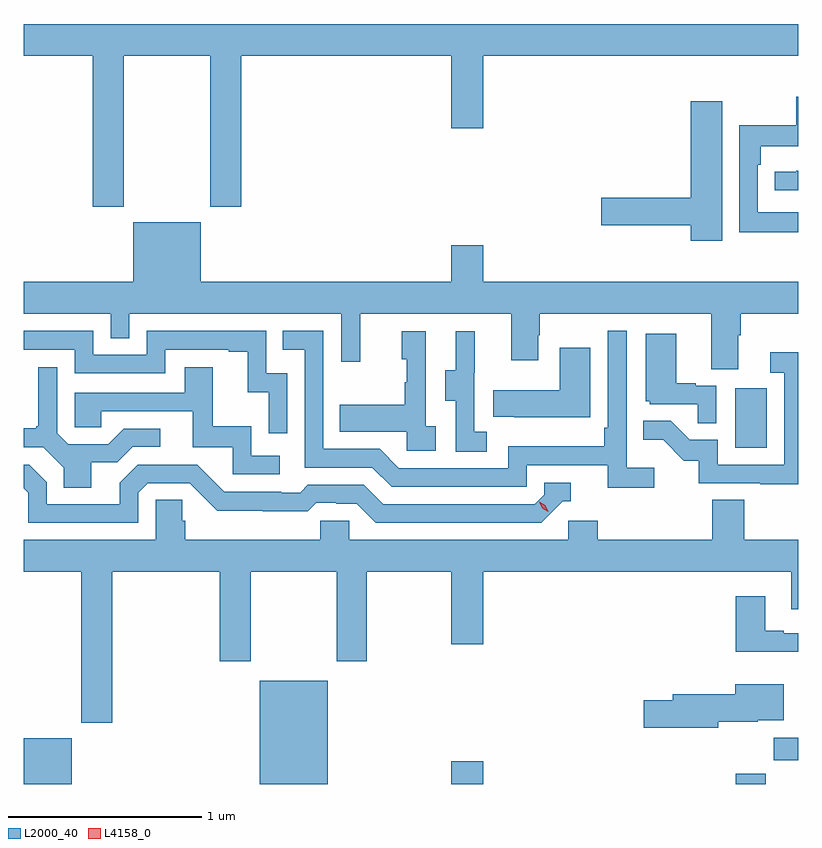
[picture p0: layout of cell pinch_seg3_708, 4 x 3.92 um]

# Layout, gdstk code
import gdstk
lib = gdstk.Library(unit=1e-6, precision=1e-09)
def R(c, l, rs):  # rectangles x0, y0, x1, y1
    for r in rs: c.add(gdstk.rectangle(r[:2], r[2:], *l))
def P(c, l, *ps):  # polygons
    for p in ps: c.add(gdstk.Polygon(p, *l))
L2000_40 = (2000, 40)
L4158_0 = (4158, 0)

pinch_seg3_708 = lib.new_cell('pinch_seg3_708')
R(pinch_seg3_708, L2000_40, [(1109.851,667.852,1110.1,668.089), (1111.07,667.852,1111.42,668.386), (1112.06,667.852,1112.224,667.969), (1113.527,667.852,1113.683,667.904), (1113.724,667.974,1113.851,668.092), (1113.524,669.588,1113.688,669.895)])
P(pinch_seg3_708, L2000_40, [(1110.369,671.612),(1110.814,671.612),(1110.814,670.833),(1110.974,670.833),(1110.974,671.612),(1112.06,671.612),(1112.06,671.238),(1112.224,671.238),(1112.224,671.612),(1113.851,671.612),(1113.851,671.776),(1109.851,671.776),(1109.851,671.612),(1110.209,671.612),(1110.209,670.833),(1110.369,670.833)],
  [(1113.851,670.803),(1113.642,670.803),(1113.642,671.048),(1113.656,671.048),(1113.656,671.144),(1113.851,671.144),(1113.851,671.4),(1113.84,671.4),(1113.84,671.254),(1113.546,671.254),(1113.546,670.702),(1113.851,670.702)],
  [(1113.457,671.377),(1113.296,671.377),(1113.296,670.88),(1112.832,670.88),(1112.832,670.738),(1113.296,670.738),(1113.296,670.656),(1113.457,670.656)],
  [(1113.851,671.018),(1113.841,671.018),(1113.841,671.013),(1113.729,671.013),(1113.729,670.917),(1113.851,670.917)],
  [(1113.541,670.168),(1113.554,670.168),(1113.554,670.28),(1113.851,670.28),(1113.851,670.444),(1112.224,670.444),(1112.224,670.633),(1112.06,670.633),(1112.06,670.444),(1110.766,670.444),(1110.766,670.753),(1110.416,670.753),(1110.416,670.444),(1109.851,670.444),(1109.851,670.28),(1110.3,670.28),(1110.3,670.153),(1110.396,670.153),(1110.396,670.28),(1111.491,670.28),(1111.491,670.032),(1111.589,670.032),(1111.589,670.28),(1112.369,670.28),(1112.369,670.041),(1112.509,670.041),(1112.509,670.169),(1112.517,670.169),(1112.517,670.28),(1113.401,670.28),(1113.401,669.994),(1113.541,669.994)],
  [(1113.106,669.484),(1112.964,669.484),(1112.964,670.192),(1112.868,670.192),(1112.868,669.691),(1112.848,669.691),(1112.848,669.595),(1112.352,669.595),(1112.352,669.483),(1111.788,669.483),(1111.689,669.582),(1111.398,669.582),(1111.398,670.191),(1111.189,670.191),(1111.189,670.095),(1111.302,670.095),(1111.302,669.486),(1111.652,669.486),(1111.751,669.387),(1112.448,669.387),(1112.448,669.498),(1112.867,669.498),(1112.867,669.382),(1113.106,669.382)],
  [(1111.212,669.972),(1111.104,669.972),(1111.104,670.191),(1110.486,670.191),(1110.486,670.068),(1110.21,670.068),(1110.21,670.191),(1109.851,670.191),(1109.851,670.095),(1110.114,670.095),(1110.114,669.972),(1110.582,669.972),(1110.582,670.095),(1110.911,670.095),(1110.911,670.083),(1111.007,670.083),(1111.007,669.875),(1111.116,669.875),(1111.116,669.663),(1111.212,669.663)],
  [(1111.978,669.698),(1111.926,669.698),(1111.926,670.189),(1111.802,670.189),(1111.802,670.044),(1111.828,670.044),(1111.828,669.926),(1111.818,669.926),(1111.818,669.811),(1111.483,669.811),(1111.483,669.671),(1111.83,669.671),(1111.83,669.573),(1111.978,669.573)],
  [(1112.242,669.671),(1112.178,669.671),(1112.178,669.975),(1112.18,669.975),(1112.18,670.189),(1112.081,670.189),(1112.081,669.987),(1112.027,669.987),(1112.027,669.832),(1112.082,669.832),(1112.082,669.568),(1112.242,669.568)],
  [(1113.426,669.909),(1113.32,669.909),(1113.32,669.922),(1113.22,669.922),(1113.22,670.177),(1113.062,670.177),(1113.062,669.828),(1113.084,669.828),(1113.084,669.813),(1113.331,669.813),(1113.331,669.715),(1113.426,669.715)],
  [(1112.776,670.105),(1112.618,670.105),(1112.618,669.886),(1112.275,669.886),(1112.275,669.749),(1112.383,669.749),(1112.383,669.746),(1112.776,669.746)],
  [(1113.851,670.081),(1113.705,670.081),(1113.705,669.975),(1113.777,669.975),(1113.777,669.501),(1113.435,669.501),(1113.435,669.63),(1113.291,669.63),(1113.193,669.728),(1113.049,669.728),(1113.049,669.629),(1113.153,669.629),(1113.26,669.522),(1113.337,669.522),(1113.337,669.405),(1113.655,669.405),(1113.655,669.4),(1113.851,669.4)],
  [(1110.199,669.514),(1110.334,669.514),(1110.414,669.594),(1110.556,669.594),(1110.556,669.687),(1110.368,669.687),(1110.287,669.606),(1110.081,669.606),(1110.024,669.663),(1110.024,670.003),(1109.927,670.003),(1109.927,669.7),(1109.916,669.7),(1109.916,669.688),(1109.851,669.688),(1109.851,669.591),(1109.952,669.591),(1110.059,669.484),(1110.059,669.382),(1110.199,669.382)],
  [(1111.174,669.546),(1111.026,669.546),(1111.026,669.7),(1110.827,669.7),(1110.827,670.003),(1110.683,670.003),(1110.683,669.873),(1110.114,669.873),(1110.114,669.693),(1110.251,669.693),(1110.251,669.777),(1110.725,669.777),(1110.725,669.591),(1110.93,669.591),(1110.93,669.45),(1111.174,669.45)],
  [(1110.444,669.357),(1110.492,669.405),(1110.708,669.405),(1110.85,669.263),(1111.086,669.263),(1111.086,669.261),(1111.319,669.261),(1111.361,669.303),(1111.464,669.303),(1111.464,669.3),(1111.571,669.3),(1111.67,669.201),(1112.523,669.201),(1112.634,669.312),(1112.677,669.312),(1112.677,669.408),(1112.538,669.408),(1112.538,669.345),(1112.49,669.297),(1111.707,669.297),(1111.608,669.396),(1111.319,669.396),(1111.28,669.357),(1111.181,669.357),(1111.181,669.36),(1110.888,669.36),(1110.747,669.501),(1110.441,669.501),(1110.347,669.407),(1110.347,669.297),(1109.97,669.297),(1109.97,669.411),(1109.88,669.501),(1109.851,669.501),(1109.851,669.38),(1109.874,669.357),(1109.874,669.201),(1110.444,669.201)],
  [(1110.308,668.948),(1110.863,668.948),(1110.863,668.487),(1111.023,668.487),(1111.023,668.948),(1111.468,668.948),(1111.468,668.487),(1111.623,668.487),(1111.623,668.948),(1112.06,668.948),(1112.06,668.574),(1112.224,668.574),(1112.224,668.948),(1113.815,668.948),(1113.815,668.754),(1113.851,668.754),(1113.851,669.112),(1113.572,669.112),(1113.572,669.32),(1113.407,669.32),(1113.407,669.112),(1112.816,669.112),(1112.816,669.21),(1112.664,669.21),(1112.664,669.112),(1111.533,669.112),(1111.533,669.21),(1111.383,669.21),(1111.383,669.112),(1110.686,669.112),(1110.686,669.21),(1110.671,669.21),(1110.671,669.32),(1110.534,669.32),(1110.534,669.112),(1109.851,669.112),(1109.851,668.948),(1110.148,668.948),(1110.148,668.169),(1110.308,668.169)],
  [(1113.851,668.631),(1113.775,668.631),(1113.775,668.644),(1113.679,668.644),(1113.679,668.821),(1113.527,668.821),(1113.527,668.534),(1113.851,668.534)],
  [(1113.438,668.174),(1113.642,668.174),(1113.642,668.18),(1113.775,668.18),(1113.775,668.368),(1113.524,668.368),(1113.524,668.315),(1113.203,668.315),(1113.203,668.285),(1113.054,668.285),(1113.054,668.143),(1113.438,668.143)])
P(pinch_seg3_708, L4158_0, [(1112.559,669.257),(1112.528,669.277),(1112.513,669.31),(1112.513,669.31),(1112.513,669.31),(1112.543,669.29),(1112.559,669.257),(1112.559,669.257)])

lib.write_gds('pinch_seg3_708.gds')
